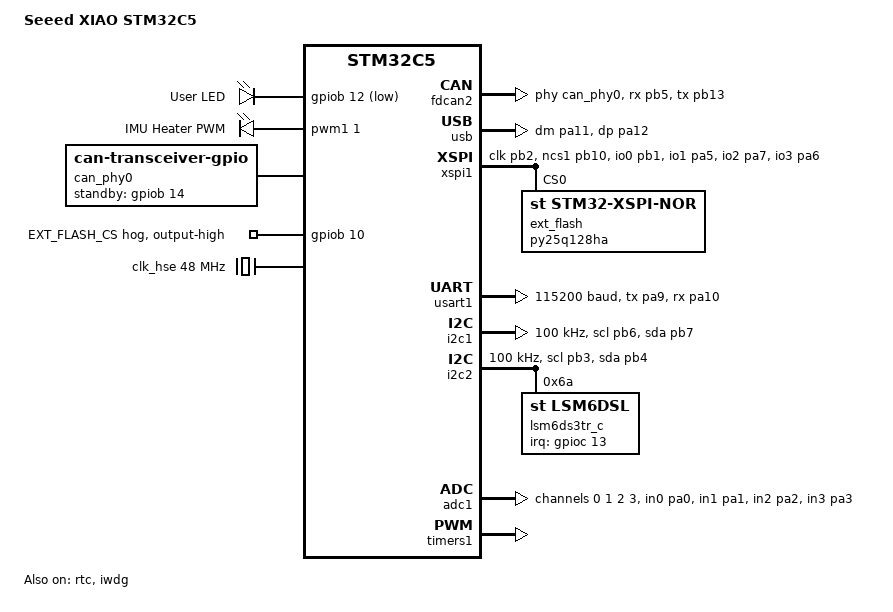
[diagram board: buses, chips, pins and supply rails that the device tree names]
/*
 * Copyright (c) 2025 Seeed Technology Co., Ltd.
 * SPDX-License-Identifier: Apache-2.0
 *
 * XIAO STM32C5 board definition.
 * MCU: STM32C5A3CG (UFQFPN48, Cortex-M33, 144MHz, 256KB SRAM, 1MB Flash)
 * Pin map extracted from schematic 04 XIAO Header&STM32C5.kicad_sch and
 * verified against STM32C5A3 datasheet DS15137-Rev1.
 *
 * UF2 bootloader constraint: application starts at 0x08008000 (32KB offset).
 * Flash partitions, chosen code-partition, and ROM_START_OFFSET MUST NOT
 * be modified — they are aligned with the TinyUF2 bootloader.
 */

/dts-v1/;
#include <st/c5/stm32c5a3Xg.dtsi>
#include <st/c5/stm32c5(9-a)3z(e-g)tx-pinctrl.dtsi>
#include <zephyr/dt-bindings/flash_controller/xspi.h>
#include <zephyr/dt-bindings/input/input-event-codes.h>
#include <zephyr/dt-bindings/pwm/pwm.h>
#include "seeed_xiao_connector.dtsi"

/ {
	model = "Seeed XIAO STM32C5";
	compatible = "seeed,xiao-stm32c5";

	chosen {
		zephyr,console = &usart1;
		zephyr,shell-uart = &usart1;
		zephyr,sram = &sram1;
		zephyr,flash = &flash0;
		zephyr,code-partition = &slot0_partition;
		zephyr,canbus = &fdcan2;
	};

	aliases {
		led0 = &user_led;
		watchdog0 = &iwdg;
		can0 = &fdcan2;
		flash1 = &ext_flash;
		imu0 = &lsm6ds3tr_c;
		imu-heater = &imu_heater_pwm;
	};

	leds: leds {
		compatible = "gpio-leds";

		user_led: led_0 {
			gpios = <&gpiob 12 GPIO_ACTIVE_LOW>;
			label = "User LED";
		};
	};

	pwmleds {
		compatible = "pwm-leds";

		imu_heater_pwm: imu_heater_pwm {
			pwms = <&pwm1 1 PWM_MSEC(1) PWM_POLARITY_NORMAL>;
			label = "IMU Heater PWM";
		};
	};

	/*
	 * CAN transceiver: the standby pin (CAN_STB = PB14, XIAO D15) is
	 * driven LOW (inactive) during normal operation and HIGH (active)
	 * when the CAN bus is idle/disabled to reduce power consumption.
	 */
	can_phy0: can-phy0 {
		compatible = "can-transceiver-gpio";
		standby-gpios = <&gpiob 14 GPIO_ACTIVE_HIGH>;
		max-bitrate = <8000000>;
		#phy-cells = <0>;
	};
};

&gpiob {
	ext_flash_cs_default: ext-flash-cs-default {
		gpio-hog;
		gpios = <10 GPIO_ACTIVE_HIGH>;
		output-high;
		line-name = "EXT_FLASH_CS";
	};
};

/*
 * FDCAN peripheral definitions.
 *
 * NOTE: The upstream Zephyr STM32C5 SoC DTSI (as of this writing) does not
 * yet define fdcan1/fdcan2 nodes. The definitions below are derived from
 * the STM32C5A3 CMSIS header (stm32c5a3xx.h):
 *   - FDCAN1_BASE  = APB1PERIPH_BASE + 0xA400 = 0x4000A400
 *   - FDCAN2_BASE  = APB1PERIPH_BASE + 0xA800 = 0x4000A800
 *   - SRAMCAN_BASE = APB1PERIPH_BASE + 0xAC00 = 0x4000AC00 (shared message RAM)
 *   - FDCAN1 interrupts: IT0 = 34, IT1 = 35
 *   - FDCAN2 interrupts: IT0 = 86, IT1 = 87
 *   - Clock enable: RCC_APB1HENR bit 9  ->  STM32_CLOCK(APB1_2, 9)
 *   - Kernel clock: CCIPR1 bits 27:26   ->  FDCAN_SEL()
 *     STM32C5 FDCAN supports PCLK1/PSIS/PSIK/HSE. Use PSIS here so CAN FD
 *     data phase bit timing can reach 8 Mbps with enough time quanta.
 *
 * When upstream Zephyr adds these nodes to the SoC DTSI, the full
 * definitions here can be removed, leaving only the board-specific
 * pinctrl/status overrides.
 */
/ {
	fdcan1: can@4000a400 {
		compatible = "st,stm32-fdcan";
		reg = <0x4000a400 0x400>, <0x4000ac00 0x350>;
		reg-names = "m_can", "message_ram";
		interrupt-parent = <&nvic>;
		interrupts = <34 0>, <35 0>;
		interrupt-names = "int0", "int1";
		clocks = <&rcc STM32_CLOCK(APB1_2, 9)>,
			 <&rcc STM32_SRC_PSIS FDCAN_SEL(1)>;
		bosch,mram-cfg = <0x0 28 8 3 3 0 3 3>;
		status = "disabled";
	};

	fdcan2: can@4000a800 {
		compatible = "st,stm32-fdcan";
		reg = <0x4000a800 0x400>, <0x4000ac00 0x6a0>;
		reg-names = "m_can", "message_ram";
		interrupt-parent = <&nvic>;
		interrupts = <86 0>, <87 0>;
		interrupt-names = "int0", "int1";
		clocks = <&rcc STM32_CLOCK(APB1_2, 9)>,
			 <&rcc STM32_SRC_PSIS FDCAN_SEL(1)>;
		bosch,mram-cfg = <0x350 28 8 3 3 0 3 3>;
		status = "disabled";
	};

	/*
	 * USB DRD FS controller (USB_DRD_FS).
	 * Base: 0x40016000, PMA: 0x40016400, IRQ: 62, Clock: APB2 bit 24.
	 * Kernel clock CK48 sourced from HSIDIV3 (HSI144/3 = 48 MHz) via
	 * CK48_SEL(2).  DM=PA11, DP=PA12 (fixed analog function, see pinctrl
	 * DTSI).
	 *
	 * Driven by Zephyr's standard UDC driver (udc_stm32.c). The upstream
	 * driver only gained STM32C5 HAL2 support after the 4.4.0 release
	 * (Zephyr PR #105957); the HAL2 backport is carried as an override
	 * registered in zephyr/fixes.yml (udc-stm32-hal2) and applied to the
	 * framework-zephyr package at build time.
	 */
	usb: usb@40016000 {
		compatible = "st,stm32-usb";
		reg = <0x40016000 0x400>;
		interrupt-parent = <&nvic>;
		interrupts = <62 0>;
		interrupt-names = "usb";
		num-bidir-endpoints = <8>;
		ram-size = <2048>;
		maximum-speed = "full-speed";
		pinctrl-0 = <&usb_dm_pa11 &usb_dp_pa12>;
		pinctrl-names = "default";
		clocks = <&rcc STM32_CLOCK(APB2, 24)>,
			 <&rcc STM32_SRC_CK48 CK48_SEL(2)>;
		status = "okay";
	};

	/*
	 * External NOR flash: Puya PY25Q128HA, 128 Mbit / 16 MByte.
	 * The STM32C5 SoC DTSI does not define XSPI1 yet; values below are
	 * derived from stm32c5a3xx.h:
	 *   - XSPI1_R_BASE = AHB4PERIPH_BASE + 0x1001400 = 0x47001400
	 *   - XSPI1 memory-mapped base = 0x90000000
	 *   - XSPI1 IRQ = 91
	 *   - Clock enable: RCC_AHB4ENR bit 20 -> STM32_CLOCK(AHB4, 20)
	 *   - Kernel clock: CCIPR3 bits 1:0 -> XSPI1_SEL()
	 */
	xspi1: spi@47001400 {
		compatible = "st,stm32-xspi";
		reg = <0x47001400 0x400>, <0x90000000 DT_SIZE_M(16)>;
		interrupt-parent = <&nvic>;
		interrupts = <91 0>;
		clock-names = "xspix", "xspi-ker";
		clocks = <&rcc STM32_CLOCK(AHB4, 20)>,
			 <&rcc STM32_SRC_HSIK XSPI1_SEL(2)>;
		pinctrl-0 = <&xspi1_clk_pb2 &xspi1_ncs1_pb10
			     &xspi1_io0_pb1 &xspi1_io1_pa5
			     &xspi1_io2_pa7 &xspi1_io3_pa6>;
		pinctrl-names = "default";
		dlyb-bypass;
		#address-cells = <1>;
		#size-cells = <0>;
		status = "okay";

		ext_flash: py25q128ha@0 {
			compatible = "st,stm32-xspi-nor";
			reg = <0>;
			size = <DT_SIZE_M(128)>;
			spi-bus-width = <XSPI_SPI_MODE>;
			data-rate = <XSPI_STR_TRANSFER>;
			ospi-max-frequency = <DT_FREQ_M(48)>;
			status = "okay";
		};
	};
};

&clk_hse {
	clock-frequency = <DT_FREQ_M(48)>;
	status = "okay";
};

&clk_hsidiv3 {
	status = "okay";
};

&clk_hsik {
	clock-frequency = <DT_FREQ_M(48)>;
	xsik-div = "3";
	status = "okay";
};

&clk_hsis {
	status = "okay";
};

&clk_psis {
	clock-frequency = <DT_FREQ_M(144)>;
	status = "okay";
};

&clk_lsi {
	status = "okay";
};

&clk_lse {
	status = "okay";
};

&flash0 {
	partitions {
		compatible = "fixed-partitions";
		#address-cells = <1>;
		#size-cells = <1>;

		/* TinyUF2 Bootloader: 32KB — DO NOT MODIFY */
		boot_partition: partition@0 {
			label = "uf2-bootloader";
			reg = <0x00000000 DT_SIZE_K(32)>;
		};

		/* Application slot: 488KB (aligned with UF2 layout) — DO NOT MODIFY */
		slot0_partition: partition@8000 {
			label = "image-0";
			reg = <0x00008000 DT_SIZE_K(488)>;
		};

		/* OTA slot: 480KB */
		slot1_partition: partition@82000 {
			label = "image-1";
			reg = <0x00082000 DT_SIZE_K(480)>;
		};

		/* Storage: 24KB */
		storage_partition: partition@fa000 {
			label = "storage";
			reg = <0x000fa000 DT_SIZE_K(24)>;
		};
	};
};

&usart1 {
	pinctrl-0 = <&usart1_tx_pa9 &usart1_rx_pa10>;
	pinctrl-names = "default";
	current-speed = <115200>;
	status = "okay";
};

&i2c1 {
	pinctrl-0 = <&i2c1_scl_pb6 &i2c1_sda_pb7>;
	pinctrl-names = "default";
	clock-frequency = <I2C_BITRATE_STANDARD>;
	status = "okay";
};

&i2c2 {
	pinctrl-0 = <&i2c2_scl_pb3 &i2c2_sda_pb4>;
	pinctrl-names = "default";
	clock-frequency = <I2C_BITRATE_STANDARD>;
	status = "okay";

	lsm6ds3tr_c: lsm6ds3tr-c@6a {
		compatible = "st,lsm6dsl";
		reg = <0x6a>;
		irq-gpios = <&gpioc 13 GPIO_ACTIVE_HIGH>;
		status = "okay";
	};
};

&adc1 {
	pinctrl-0 = <&adc1_in0_pa0 &adc1_in1_pa1 &adc1_in2_pa2 &adc1_in3_pa3>;
	pinctrl-names = "default";
	#address-cells = <1>;
	#size-cells = <0>;
	status = "okay";

	channel@0 {
		reg = <0>;
		zephyr,gain = "ADC_GAIN_1";
		zephyr,reference = "ADC_REF_INTERNAL";
		zephyr,acquisition-time = <ADC_ACQ_TIME_DEFAULT>;
		zephyr,resolution = <12>;
	};

	channel@1 {
		reg = <1>;
		zephyr,gain = "ADC_GAIN_1";
		zephyr,reference = "ADC_REF_INTERNAL";
		zephyr,acquisition-time = <ADC_ACQ_TIME_DEFAULT>;
		zephyr,resolution = <12>;
	};

	channel@2 {
		reg = <2>;
		zephyr,gain = "ADC_GAIN_1";
		zephyr,reference = "ADC_REF_INTERNAL";
		zephyr,acquisition-time = <ADC_ACQ_TIME_DEFAULT>;
		zephyr,resolution = <12>;
	};

	channel@3 {
		reg = <3>;
		zephyr,gain = "ADC_GAIN_1";
		zephyr,reference = "ADC_REF_INTERNAL";
		zephyr,acquisition-time = <ADC_ACQ_TIME_DEFAULT>;
		zephyr,resolution = <12>;
	};
};

&timers1 {
	st,prescaler = <143>;
	status = "okay";

	pwm1: pwm {
		pinctrl-0 = <&tim1_ch1_pa8>;
		pinctrl-names = "default";
		status = "okay";
	};
};

&fdcan2 {
	pinctrl-0 = <&fdcan2_rx_pb5 &fdcan2_tx_pb13>;
	pinctrl-names = "default";
	phys = <&can_phy0>;
	status = "okay";
};

&rtc {
	clocks = <&rcc STM32_CLOCK(APB3, 21)>,
		 <&rcc STM32_SRC_LSE RTC_SEL(1)>;
	status = "okay";
};

&rcc {
	clocks = <&clk_hsis>;
	clock-frequency = <DT_FREQ_M(144)>;
	ahb-prescaler = <1>;
	apb1-prescaler = <2>;
	apb2-prescaler = <2>;
	apb3-prescaler = <2>;
	st,psi-frequency = <144>;
	st,psi-source = "HSE";
};

&iwdg {
	status = "okay";
};

/* XIAO connector CAN alias (must be after fdcan2 definition above) */
xiao_can: &fdcan2 {};

/* USB device controller alias (standard Zephyr UDC) */
zephyr_udc0: &usb {};

/* CDC ACM UART: host-facing virtual serial port. The 1200-bps UF2 trigger
 * (uf2_dfu_reset module) listens for SET_LINE_CODING on this interface.
 */
&zephyr_udc0 {
	cdc_acm_uart0 {
		compatible = "zephyr,cdc-acm-uart";
		label = "Zephyr USB CDC-ACM";
	};
};
